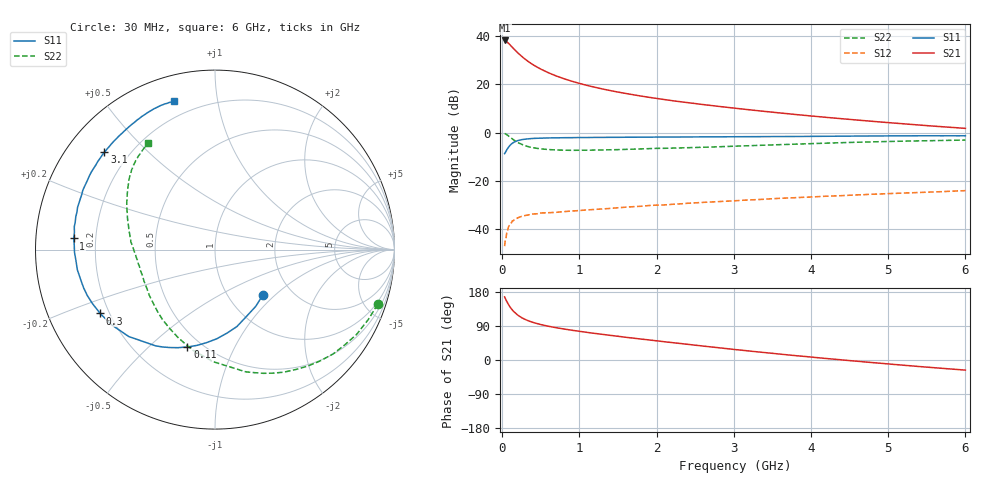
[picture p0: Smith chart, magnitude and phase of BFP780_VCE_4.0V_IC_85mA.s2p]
! Infineon Technologies  Discrete & RF Semiconductors
! BFP780
! VCE =  4.0 V,  IC =  85 mA
! Common Emitter S-Parameters:  Jul 2015
# GHz  S  MA  R  50
!  f  S11  S21  S12  S22
! GHz  MAG  ANG  MAG  ANG  MAG  ANG  MAG  ANG
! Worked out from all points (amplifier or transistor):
!   75 points, 30 MHz to 6 GHz, reference 50 ohm
!   highest |S21| = 38.0 dB at 30 MHz (marker M1)
!   |S21| within 3 dB of that: start of sweep to 135.4 MHz
!   unconditionally stable (mu >= 1): 1.734 GHz to end of sweep
!   at 150 MHz: K = 0.16, MSG = 35.3 dB, |S12| = -36.1 dB
!   at 2.3 GHz: K = 1.13, MAG = 19.0 dB, |S12| = -29.5 dB
!   at 6 GHz: K = 1.22, MAG = 10.1 dB, |S12| = -24.0 dB
!   S11 on the Smith chart (normalised r, x): 30 MHz: 1.44, -0.84; 110 MHz: 0.42, -0.67; 300 MHz: 0.16, -0.25; 1 GHz: 0.12, +0.04; 3.1 GHz: 0.11, +0.37; 6 GHz: 0.12, +0.75
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0.03  0.3673 -43.2  79.86 166.6  0.0045 63.6  0.9566 -18.6
0.05  0.4145 -65.8  76.5 157.7  0.0069 48.9  0.9194 -31.0
0.07  0.4697 -81.7  72.17 150.1  0.0097 63.7  0.8783 -41.4
0.09  0.521 -95.3  67.28 143.1  0.012 56.9  0.8295 -51.5
0.11  0.5637 -105.8  62.37 137.1  0.0134 50.3  0.7837 -60.6
0.15  0.6302 -121.7  53.47 127.5  0.0156 43.2  0.7021 -75.9
0.2  0.6824 -134.8  44.44 118.5  0.0173 37.8  0.6247 -90.9
0.25  0.7125 -144.0  37.66 111.8  0.0186 33.7  0.5728 -102.8
0.3  0.7319 -150.9  32.37 106.7  0.0194 30.1  0.5323 -112.6
0.35  0.746 -156.2  28.31 102.5  0.0201 29.8  0.505 -120.5
0.4  0.7563 -160.3  25.1 99.1  0.0208 27.4  0.4868 -127.0
0.5  0.766 -166.8  20.4 93.5  0.0218 26.5  0.4598 -137.1
0.6  0.775 -171.6  17.13 89.0  0.0221 25.7  0.446 -145.1
0.8  0.7829 -178.9  12.93 81.8  0.0233 25.6  0.4327 -156.1
1  0.7893 175.5  10.35 75.7  0.0245 26.8  0.4312 -163.9
1.1  0.7891 173.0  9.392 72.8  0.0253 26.8  0.4311 -167.2
1.5  0.797 164.8  6.853 62.6  0.028 28.5  0.444 -176.6
2.1  0.8076 154.3  4.805 48.2  0.032 29.4  0.4724 173.5
3.1  0.8208 138.7  3.074 25.9  0.0398 28.5  0.5283 157.8
4.1  0.8359 124.7  2.13 5.8  0.0476 25.3  0.5971 144.3
5.1  0.8552 113.5  1.56 -12.1  0.0555 20.2  0.6589 132.7
6  0.8581 105.4  1.22 -26.7  0.0631 14.7  0.6995 122.2
